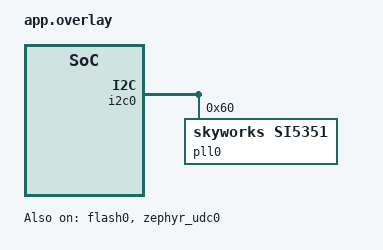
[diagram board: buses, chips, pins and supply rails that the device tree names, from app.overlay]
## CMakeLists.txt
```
# Copyright (c) 2024 tinyVision.ai Inc.
# SPDX-License-Identifier: Apache-2.0

add_subdirectory(drivers)
```

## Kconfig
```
# Copyright (c) 2024 tinyVision.ai Inc.
# SPDX-License-Identifier: Apache-2.0

rsource "drivers/Kconfig"
```

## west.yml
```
# SPDX-License-Identifier: Apache-2.0

manifest:
  projects:

    - name: zephyr
      url: https://github.com/tinyvision-ai-inc/zephyr
      revision: pr-usb3-uvc
      import:
        name-allowlist:
          - zephyr

    - name: tinyvision_zephyr_sdk
      url: https://github.com/tinyvision-ai-inc/tinyvision_zephyr_sdk
      revision: e1b63c7ab7eb3740863073565bca2abad27dfd91
```

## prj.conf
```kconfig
CONFIG_ASSERT=y
CONFIG_BOOT_BANNER=n
CONFIG_CLOCK_CONTROL=y
CONFIG_CLOCK_CONTROL_LOG_LEVEL_INF=y
CONFIG_CLOCK_CONTROL_SI5351=y
CONFIG_GPIO=n
CONFIG_I2C=y
CONFIG_I2C_INIT_PRIORITY=0
CONFIG_I2C_SHELL=y
CONFIG_KERNEL_SHELL=y
CONFIG_LOG=y
CONFIG_LOG_MODE_MINIMAL=y
CONFIG_NET_BUF_POOL_USAGE=y
CONFIG_SERIAL=y
CONFIG_SHELL=y
CONFIG_SPI=n
CONFIG_UART_LINE_CTRL=y
CONFIG_UDC_BUF_COUNT=32
CONFIG_UDC_DRIVER_LOG_LEVEL_DBG=y
CONFIG_UDC_USB23=y
CONFIG_USBD_LOG_LEVEL_INF=y
CONFIG_USBD_SHELL=y
CONFIG_USBD_UVC_CLASS=y
CONFIG_USBD_UVC_LOG_LEVEL_INF=y
CONFIG_USB_DEVICE_STACK_NEXT=y
CONFIG_XIP=y
```

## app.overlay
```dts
&i2c0 {
	pll0: si5351@60 {
		reg = <0x60>;
		compatible = "skyworks,si5351";
		#clock-cells = <0>;
		status = "okay";
	};
};

&uart0 {
	clocks = <&pll0>;
};

/ {
	chosen {
		zephyr,flash = &flash0;
		zephyr,console = &uart0;
		zephyr,shell-uart = &uart0;
		lattice,usb23-dma = &ram1;
	};

	soc {
		flash0: flash@20100000 {
			reg = <0x20100000 0x100000>;
			compatible = "soc-nv-flash";
			status = "okay";
		};

		ram1: memory@b1000000 {
			device_type = "memory";
			reg = <0xb1000000 0x4000>;
		};

		zephyr_udc0: usbd@b0000000 {
			compatible = "lattice,usb23";
			reg = <	0xb0000000 0x1000000
				0xe0004000 0x4
				0xe0004004 0x4
				0xe0004008 0x4>;
			reg-names =
				"base",
				"ev_status",
				"ev_pending",
				"ev_enable";
			num-bidir-endpoints = <2>;
			num-endpoint-trb = <1 1 0 32>;
			maximum-speed = "high-speed";
			interrupts = <0x0 0>;
			interrupt-names = "usb";
			interrupt-parent = <&intc0>;
			status = "okay";

			uvc_0: zephyr_uvc {
				compatible = "zephyr,uvc";
				// TODO use a memory region and reference the phandle
				payload-addr = <0xb1100000>;
				status = "okay";
			};
		};
	};
};
```

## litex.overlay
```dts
&uart0 {
	reg = <0xe0001800 0x4
		0xe0001804 0x4
		0xe0001808 0x4
		0xe000180c 0x4
		0xe0001810 0x4
		0xe0001814 0x4
		0xe0001818 0x4
		0xe000181c 0x4>;
	reg-names = "rxtx",
		"txfull",
		"rxempty",
		"ev_status",
		"ev_pending",
		"ev_enable",
		"txempty",
		"rxfull";
	interrupts = <0x2 0>;
};
&timer0 {
	reg = <0xe0002800 0x4
		0xe0002804 0x4
		0xe0002808 0x4
		0xe000280c 0x4
		0xe0002810 0x4
		0xe0002814 0x4
		0xe0002818 0x4
		0xe000281c 0x4
		0xe0002820 0x4
		0xe0002824 0x8>;
	reg-names = "load",
		"reload",
		"en",
		"update_value",
		"value",
		"ev_status",
		"ev_pending",
		"ev_enable",
		"uptime_latch",
		"uptime_cycles";
	interrupts = <0x1 0>;
};
&eth0 {
	status = "disabled";
};
&spi0 {
	status = "disabled";
};
&i2c0 {
	reg = <0xe0005000 0x4
		0xe0005004 0x4>;
	reg-names = "write",
		"read";
};
&i2s_rx {
	status = "disabled";
};
&i2s_tx {
	status = "disabled";
};
&clock0 {
	status = "disabled";
};
&ram0 {
	reg = <0x40000000 0x20000>;
};
&dna0 {
	status = "disabled";
};
```

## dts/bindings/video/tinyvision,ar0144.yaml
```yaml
# Copyright (c) 2025 tinyVision.ai Inc.
# SPDX-License-Identifier: Apache-2.0

description: OnSemi AR0144 sensor

compatible: "tinyvision,ar0144"

include: base.yaml

child-binding:
  child-binding:
    include: video-interfaces.yaml
```

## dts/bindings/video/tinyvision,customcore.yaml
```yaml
# Copyright (c) 2024 tinyVision.ai Inc.
# SPDX-License-Identifier: Apache-2.0

description: Custom RTL core integrated into the tinyCLUNX33

compatible: "tinyvision,customcore"

include: base.yaml

child-binding:
  child-binding:
    include: video-interfaces.yaml
```

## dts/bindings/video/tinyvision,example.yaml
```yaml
# Copyright (c) 2024 tinyVision.ai Inc.
# SPDX-License-Identifier: Apache-2.0

description: Custom RTL core integrated into the tinyCLUNX33

compatible: "tinyvision,example"

include: base.yaml

child-binding:
  child-binding:
    include: video-interfaces.yaml
```

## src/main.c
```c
#include <zephyr/kernel.h>
#include <zephyr/devicetree.h>
#include <zephyr/drivers/usb/udc.h>
#include <zephyr/drivers/clock_control.h>
#include <zephyr/usb/usbd.h>
#include <zephyr/usb/bos.h>
#include <zephyr/logging/log.h>
LOG_MODULE_REGISTER(main, LOG_LEVEL_DBG);

USBD_DEVICE_DEFINE(my_usbd_dev, DEVICE_DT_GET(DT_NODELABEL(zephyr_udc0)), 0x1209, 0x0001);
USBD_DEVICE_QUALIFIER_DEFINE(my_usbd_device_qualifier);
USBD_CONFIGURATION_DEFINE(my_usbd_config, USB_SCD_SELF_POWERED, 100);
USBD_DESC_LANG_DEFINE(my_usbd_lang);
USBD_DESC_MANUFACTURER_DEFINE(my_usbd_manufacturer, "tinyVision.ai");
USBD_DESC_PRODUCT_DEFINE(my_usbd_product, "tinyCLUNX33");
//USBD_DESC_SERIAL_NUMBER_DEFINE(my_usbd_serial_number, "0123456789ABCDEF");

struct {
	struct usb_bos_descriptor bos;
	struct usb_bos_capability_lpm lpm;
	struct usb_bos_capability_superspeed_usb superspeed_usb;
} __packed my_usbd_bos_desc = {
	.bos = {
		.bLength = sizeof(struct usb_bos_descriptor),
		.bDescriptorType = USB_DESC_BOS,
		.wTotalLength = sys_cpu_to_le16(sizeof(my_usbd_bos_desc)),
		.bNumDeviceCaps = 2,
	},
	.lpm = {
		.bLength = sizeof(struct usb_bos_capability_lpm),
		.bDescriptorType = USB_DESC_DEVICE_CAPABILITY,
		.bDevCapabilityType = USB_BOS_CAPABILITY_EXTENSION,
		.bmAttributes = USB_BOS_ATTRIBUTES_LPM, //  | USB_BOS_ATTRIBUTES_BESL
	},
	.superspeed_usb = {
		.bLength = sizeof(struct usb_bos_capability_superspeed_usb),
		.bDescriptorType = USB_DESC_DEVICE_CAPABILITY,
		.bDevCapabilityType = USB_BOS_CAPABILITY_SUPERSPEED_USB,
		.bmAttributes = USB_BOS_ATTRIBUTES_LPM, //| USB_BOS_ATTRIBUTES_BESL,
		.wSpeedsSupported = sys_cpu_to_le16(USB_BOS_SPEED_SUPERSPEED_GEN1
			| USB_BOS_SPEED_HIGHSPEED | USB_BOS_SPEED_FULLSPEED),
		.bFunctionnalSupport = 1,
		.bU1DevExitLat = 10,
		.wU2DevExitLat = sys_cpu_to_le16(1023),
	},
};
static struct usbd_desc_node my_usbd_bos = {
	.desc = &my_usbd_bos_desc,
};

int main(void)
{
	int err = 0;

	err = usbd_add_descriptor(&my_usbd_dev, &my_usbd_device_qualifier);
	err |= usbd_add_descriptor(&my_usbd_dev, &my_usbd_bos);
	err |= usbd_add_descriptor(&my_usbd_dev, &my_usbd_lang);
	err |= usbd_add_descriptor(&my_usbd_dev, &my_usbd_manufacturer);
	err |= usbd_add_descriptor(&my_usbd_dev, &my_usbd_product);
	//err |= usbd_add_descriptor(&my_usbd_dev, &my_usbd_serial_number);
	err |= usbd_add_configuration(&my_usbd_dev, &my_usbd_config);
	err |= usbd_register_class(&my_usbd_dev, "uvc_0", 1);
	__ASSERT_NO_MSG(err == 0);

	err = usbd_init(&my_usbd_dev);
	__ASSERT_NO_MSG(err == 0);

	err = usbd_enable(&my_usbd_dev);
	__ASSERT_NO_MSG(err == 0);

	/* As soon as interrupts are enabled in the hardware architecture, this
	 * can be removed */
	k_sleep(K_FOREVER);

	return 0;
}
```

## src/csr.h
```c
/*
 * Access routines for the Control and State Registers block
 *
 * Copyright (c) 2024 Emcraft Systems
 *
 * SPDX-License-Identifier: Apache-2.0
 *
 */

#ifndef __CSR_H__
#define __CSR_H__

/* CSR - Control & Status Registers block */
#define CSR_OFFSET	0xB2000000

/* CSR registers */
#define CSR_REG_REV1	0x70
#define CSR_REG_REV2	0x74

static inline uint32_t csr_read_reg(uint32_t reg) {
	char * p = (char *)CSR_OFFSET ;
	return *(uint32_t *)(p + reg);
}

#endif /* __CSR_H__ */
```

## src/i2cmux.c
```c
// An I2C MUX exists at either 0x70 or 0x71 depending on the slot used
#define I2C_MUX_ADDR 0x70

static void sel_cam(uint8_t slot, uint8_t cam_id) {
	printf("Selecting camera %d\n\r", cam_id);
	uint8_t val = 0x4 + cam_id;
	i2c_write(I2C_MUX_ADDR + slot, 0, &val, 1, 1);
}
```

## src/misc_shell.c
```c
/*
 * Miscellaneous shell commands
 *
 * Copyright (c) 2024 Emcraft Systems
 *
 * SPDX-License-Identifier: Apache-2.0
 *
 */

#include <zephyr/shell/shell.h>
#include <app_version.h>
#include "csr.h"

typedef struct fpga_rev1 {
	uint8_t patch;
	uint8_t minor;
	uint8_t major;
	uint8_t reserved;
} fpga_rev1_t;

typedef struct fpga_rev2 {
	uint16_t build;
	uint16_t reserved;
} fpga_rev2_t;

static int cmd_fw_version(const struct shell *sh, size_t argc, char **argv)
{
	uint32_t rev1 = 0;
	uint32_t rev2 = 0;
	char * str = APP_VERSION_STRING;

	rev1 = csr_read_reg(CSR_REG_REV1);
	rev2 = csr_read_reg(CSR_REG_REV2);

	shell_print(sh, "Firmware version: %s", str);
	shell_print(sh, "FPGA version: %d.%d.%d-%d",
			((fpga_rev1_t *)&rev1)->major,
			((fpga_rev1_t *)&rev1)->minor,
			((fpga_rev1_t *)&rev1)->patch,
			((fpga_rev2_t *)&rev2)->build);

	return 0;
}

SHELL_CMD_REGISTER(fw_version, NULL, "Print firmware version",
		cmd_fw_version);
```

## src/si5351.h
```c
#pragma once

#define SI5351_I2C_ADDR 0x60

static struct config { uint8_t addr, data; } si5351_config[] = {
	{ 0x02, 0x53, },
	{ 0x03, 0x00, },
	{ 0x04, 0x20, },
	{ 0x07, 0x04, },
	{ 0x0F, 0x00, },
	{ 0x10, 0x8C, },
	{ 0x11, 0x0F, },
	{ 0x12, 0x0F, },
	{ 0x13, 0x8C, },
	{ 0x14, 0x8C, },
	{ 0x15, 0x8C, },
	{ 0x16, 0x8C, },
	{ 0x17, 0x8C, },
	{ 0x1A, 0x00, },
	{ 0x1B, 0x01, },
	{ 0x1C, 0x00, },
	{ 0x1D, 0x10, },
	{ 0x1E, 0x00, },
	{ 0x1F, 0x00, },
	{ 0x32, 0x00, },
	{ 0x33, 0x01, },
	{ 0x34, 0x00, },
	{ 0x35, 0x05, },
	{ 0x36, 0x80, },
	{ 0x37, 0x00, },
	{ 0x38, 0x00, },
	{ 0x39, 0x00, },
	{ 0x3A, 0x00, },
	{ 0x3B, 0x02, },
	{ 0x3C, 0x00, },
	{ 0x3D, 0x10, },
	{ 0x3E, 0xC0, },
	{ 0x3F, 0x00, },
	{ 0x40, 0x00, },
	{ 0x41, 0x00, },
	{ 0x5A, 0x00, },
	{ 0x5B, 0x00, },
	{ 0x95, 0x00, },
	{ 0x96, 0x00, },
	{ 0x97, 0x00, },
	{ 0x98, 0x00, },
	{ 0x99, 0x00, },
	{ 0x9A, 0x00, },
	{ 0x9B, 0x00, },
	{ 0xA2, 0x00, },
	{ 0xA3, 0x00, },
	{ 0xA4, 0x00, },
	{ 0xA6, 0x00, },
	{ 0xA7, 0x00, },
	{ 0xB7, 0x92, },

	/* Keeping it at the top causes troubles. */
	{ 0x20, 0x00, },
	{ 0x21, 0x00, },
};

static void si5351_i2c_write(uint8_t i2c_addr, uint8_t reg_addr, uint8_t reg_data);

static void si5351_init(void)
{
	for (int i = 0; i < ARRAY_SIZE(si5351_config); i++) {
		si5351_i2c_write(SI5351_I2C_ADDR, si5351_config[i].addr,
				si5351_config[i].data);
	}
}
```
